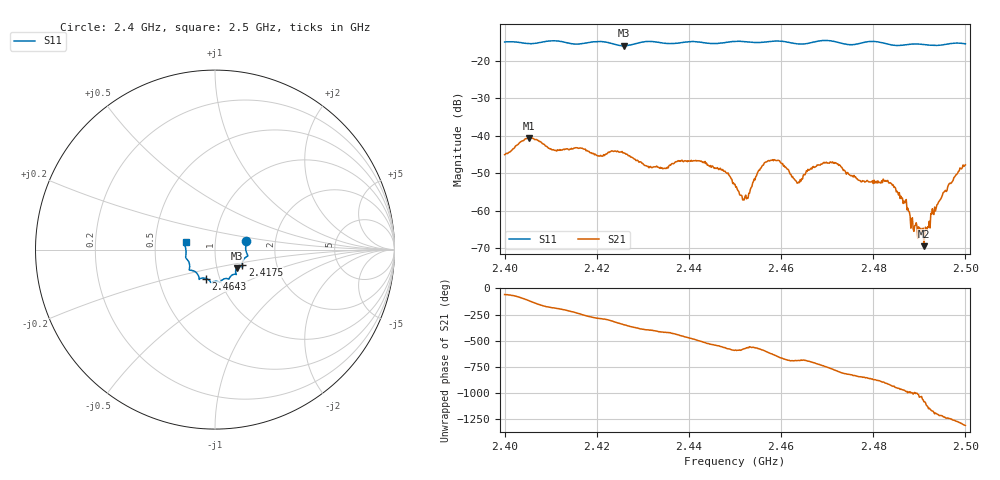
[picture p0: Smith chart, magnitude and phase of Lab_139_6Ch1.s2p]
# Hz S RI R 50
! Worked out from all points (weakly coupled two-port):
!   601 points, 2.4 GHz to 2.5 GHz, reference 50 ohm
!   highest |S21| = -40.53 dB at 2.4053 GHz (marker M1); lowest = -69.5 dB at 2.491 GHz (marker M2)
!   lowest |S11| = -15.9 dB at 2.4258 GHz (marker M3), VSWR 1.38, Z = 62.3 - j13.2 ohm
!   |S11| at or under -10 dB: start of sweep to end of sweep
!   S12 and S22 are empty: the file has one direction only
!   S11 on the Smith chart (normalised r, x): 2.4 GHz: 1.41, +0.14; 2.4175 GHz: 1.34, -0.23; 2.4643 GHz: 0.86, -0.29; 2.5 GHz: 0.72, +0.06
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2.4e9  0.1727 0.049  0.00288 -0.00482  0 0  0 0
2.405333e9  0.1705 0.00983  -0.00462 -0.00819  0 0  0 0
2.410833e9  0.183 -0.035  -0.00636 0.000842  0 0  0 0
2.416667e9  0.1528 -0.0741  -0.00244 0.00639  0 0  0 0
2.4175e9  0.1519 -0.0835  -0.00116 0.00657  0 0  0 0
2.425833e9  0.1217 -0.1034  0.00581 0.00134  0 0  0 0
2.433333e9  0.1131 -0.1372  0.00231 -0.00304  0 0  0 0
2.442333e9  0.0732 -0.1636  -0.00366 -0.00284  0 0  0 0
2.45e9  0.029 -0.181  -0.00146 0.00172  0 0  0 0
2.452333e9  0.021 -0.1797  -0.00137 0.000858  0 0  0 0
2.4555e9  -0.00241 -0.1773  -0.00279 0.00239  0 0  0 0
2.458167e9  -0.0195 -0.1827  1.66e-05 0.00482  0 0  0 0
2.464333e9  -0.0497 -0.161  0.002 0.00149  0 0  0 0
2.466667e9  -0.0758 -0.1595  0.0035 0.000856  0 0  0 0
2.4715e9  -0.0879 -0.1605  0.00228 -0.00379  0 0  0 0
2.477167e9  -0.1281 -0.1158  -0.00139 -0.00211  0 0  0 0
2.483333e9  -0.141 -0.0901  -0.00228 0.000619  0 0  0 0
2.486667e9  -0.1531 -0.0579  -0.000418 0.00128  0 0  0 0
2.488667e9  -0.1621 -0.0467  0.000193 0.000534  0 0  0 0
2.491e9  -0.1626 -0.0342  0.000336 -1.68e-05  0 0  0 0
2.495167e9  -0.1644 0.0112  -0.00142 -0.00101  0 0  0 0
2.5e9  -0.1643 0.043  -0.0027 0.00308  0 0  0 0
